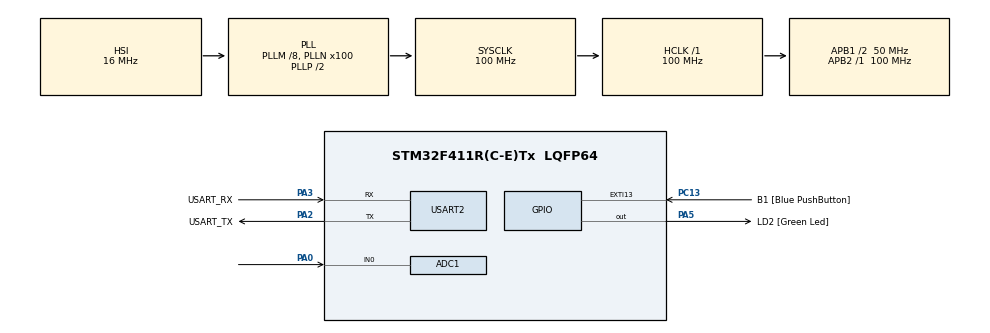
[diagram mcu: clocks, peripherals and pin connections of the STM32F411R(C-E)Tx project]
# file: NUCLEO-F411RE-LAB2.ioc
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ADC1.Channel-0\#ChannelRegularConversion=ADC_CHANNEL_TEMPSENSOR
ADC1.Channel-1\#ChannelRegularConversion=ADC_CHANNEL_0
ADC1.ClockPrescaler=ADC_CLOCK_SYNC_PCLK_DIV6
ADC1.ContinuousConvMode=ENABLE
ADC1.DMAContinuousRequests=ENABLE
ADC1.NbrOfConversion=2
ADC1.NbrOfConversionFlag=1
ADC1.Rank-0\#ChannelRegularConversion=1
ADC1.Rank-1\#ChannelRegularConversion=2
ADC1.SamplingTime-0\#ChannelRegularConversion=ADC_SAMPLETIME_480CYCLES
ADC1.SamplingTime-1\#ChannelRegularConversion=ADC_SAMPLETIME_480CYCLES
ADC1.master=1
Dma.ADC1.0.Direction=DMA_PERIPH_TO_MEMORY
Dma.ADC1.0.FIFOMode=DMA_FIFOMODE_DISABLE
Dma.ADC1.0.Instance=DMA2_Stream0
Dma.ADC1.0.MemDataAlignment=DMA_MDATAALIGN_HALFWORD
Dma.ADC1.0.MemInc=DMA_MINC_ENABLE
Dma.ADC1.0.Mode=DMA_CIRCULAR
Dma.ADC1.0.PeriphDataAlignment=DMA_PDATAALIGN_HALFWORD
Dma.ADC1.0.PeriphInc=DMA_PINC_DISABLE
Dma.ADC1.0.Priority=DMA_PRIORITY_LOW
Dma.Request0=ADC1
Mcu.Family=STM32F4
Mcu.Name=STM32F411R(C-E)Tx
Mcu.Package=LQFP64
NVIC.DMA2_Stream0_IRQn=true\:0\:0\:false\:false\:true\:false\:true\:true
NVIC.PriorityGroup=NVIC_PRIORITYGROUP_0
PA0-WKUP.Signal=ADCx_IN0
PA13.GPIO_Label=TMS
PA13.Mode=Serial_Wire
PA13.Signal=SYS_JTMS-SWDIO
PA14.GPIO_Label=TCK
PA14.Mode=Serial_Wire
PA14.Signal=SYS_JTCK-SWCLK
PA2.GPIO_Label=USART_TX
PA2.Mode=Asynchronous
PA2.Signal=USART2_TX
PA3.GPIO_Label=USART_RX
PA3.Mode=Asynchronous
PA3.Signal=USART2_RX
PA5.GPIO_Label=LD2 [Green Led]
PA5.Signal=GPIO_Output
PB3.GPIO_Label=SWO
PB3.Signal=SYS_JTDO-SWO
PC13-ANTI_TAMP.GPIO_Label=B1 [Blue PushButton]
PC13-ANTI_TAMP.GPIO_ModeDefaultEXTI=GPIO_MODE_IT_FALLING
PC13-ANTI_TAMP.Signal=GPXTI13
PC14-OSC32_IN.Mode=LSE-External-Oscillator
PC14-OSC32_IN.Signal=RCC_OSC32_IN
PC15-OSC32_OUT.Mode=LSE-External-Oscillator
PC15-OSC32_OUT.Signal=RCC_OSC32_OUT
PH0\ -\ OSC_IN.Mode=HSE-External-Clock-Source
PH0\ -\ OSC_IN.Signal=RCC_OSC_IN
PH1\ -\ OSC_OUT.Mode=HSE-External-Clock-Source
PH1\ -\ OSC_OUT.Signal=RCC_OSC_OUT
ProjectManager.HeapSize=0x200
ProjectManager.StackSize=0x400
ProjectManager.TargetToolchain=STM32CubeIDE
RCC.48MHZClocksFreq_Value=50000000
RCC.AHBFreq_Value=100000000
RCC.APB1CLKDivider=RCC_HCLK_DIV2
RCC.APB1Freq_Value=50000000
RCC.APB1TimFreq_Value=100000000
RCC.APB2Freq_Value=100000000
RCC.APB2TimFreq_Value=100000000
RCC.CortexFreq_Value=100000000
RCC.FLatency-AdvancedSettings=FLASH_LATENCY_3
RCC.HCLKFreq_Value=100000000
RCC.HSE_VALUE=8000000
RCC.HSI_VALUE=16000000
RCC.PLLM=8
RCC.PLLN=100
RCC.SYSCLKFreq_VALUE=100000000
RCC.SYSCLKSource=RCC_SYSCLKSOURCE_PLLCLK
RCC.VCOOutputFreq_Value=200000000
SH.ADCx_IN0.0=ADC1_IN0,IN0
USART2.VirtualMode=VM_ASYNC
VP_ADC1_TempSens_Input.Mode=IN-TempSens
board=NUCLEO-F411RE

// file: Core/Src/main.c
/* USER CODE BEGIN Header */
/**
  ******************************************************************************
  * @file           : main.c
  * @brief          : Main program body
  ******************************************************************************
  * @attention
  *
  * Copyright (c) 2023 STMicroelectronics.
  * All rights reserved.
  *
  * This software is licensed under terms that can be found in the LICENSE file
  * in the root directory of this software component.
  * If no LICENSE file comes with this software, it is provided AS-IS.
  *
  ******************************************************************************
  */
/* USER CODE END Header */
#include "main.h"

/* USER CODE BEGIN Includes */
#include "string.h"
#include "stdio.h"
/* USER CODE END Includes */

/* USER CODE BEGIN PD */
#define ADC_BUFFEER_SIZE 30
/* USER CODE END PD */

ADC_HandleTypeDef hadc1;
DMA_HandleTypeDef hdma_adc1;

UART_HandleTypeDef huart2;

/* USER CODE BEGIN PV */

typedef struct {
	float Raw;
	float Filt;
	uint32_t Ave;
} ADCFilter;

/* USER CODE END PV */

void SystemClock_Config(void);
static void MX_GPIO_Init(void);
static void MX_DMA_Init(void);
static void MX_USART2_UART_Init(void);
static void MX_ADC1_Init(void);
/* USER CODE BEGIN PFP */
float ComputeLowpassConstant(uint16_t CutoffFreq, uint16_t SamplingFreq);
/* USER CODE END PFP */

/* USER CODE BEGIN 0 */
char TxBuffer[30];

uint16_t ADCBuffer[ADC_BUFFEER_SIZE];

ADCFilter Temp;
ADCFilter Volt;

uint16_t Temp_Filt_1Hz;
uint16_t Volt_Filt_1Hz;

uint32_t Temp_Ave_1Hz;
uint32_t Volt_Ave_1Hz;
/* USER CODE END 0 */

int main(void)
{

  /* MCU Configuration--------------------------------------------------------*/

  /* Reset of all peripherals, Initializes the Flash interface and the Systick. */
  HAL_Init();

  /* Configure the system clock */
  SystemClock_Config();

  /* Initialize all configured peripherals */
  MX_GPIO_Init();
  MX_DMA_Init();
  MX_USART2_UART_Init();
  MX_ADC1_Init();
  /* USER CODE BEGIN 2 */
  HAL_ADC_Start_DMA(&hadc1, (uint32_t *) ADCBuffer, ADC_BUFFEER_SIZE);
  /* USER CODE END 2 */

  /* Infinite loop */
  /* USER CODE BEGIN WHILE */

  uint32_t TimeStamp_1kHz = HAL_GetTick() + 1;
  uint32_t TimeStamp_10Hz = HAL_GetTick() + 100;
  uint32_t TimeStamp_1Hz = HAL_GetTick() + 1000;

  uint32_t TransmitTime = HAL_GetTick() + 10;

  uint8_t ADCIndex;

  Temp.Raw = 0;
  Temp.Filt = 0;
  Temp.Ave = 0;

  Volt.Raw = 0;
  Volt.Filt = 0;
  Volt.Ave = 0;

  float C1 = ComputeLowpassConstant(5, 1000);
  float C2 = ComputeLowpassConstant(50, 1000);

  while (1)
  {

	  uint32_t Time = HAL_GetTick();

	  if (Time >= TimeStamp_1kHz) {
		  ADCIndex = hdma_adc1.Instance -> NDTR - 1;
		  if (ADCIndex % 2 == 0) {
			  Temp.Raw = (3.3 * ADCBuffer[ADCIndex]) / 4095.0;
			  Volt.Raw = (3.3 * ADCBuffer[ADC_BUFFEER_SIZE - 1]) / 4095.0;
		  } else {
			  Temp.Raw = (3.3 * ADCBuffer[ADCIndex - 1]) / 4095.0;
			  Volt.Raw = (3.3 * ADCBuffer[ADCIndex]) / 4095.0;
		  }

		  Temp.Raw = (400 * (Temp.Raw - 0.76)) + 25 + 273.15;
		  Temp.Filt = (C1 * Temp.Raw) + ((1 - C1) * Temp.Filt);

		  Volt.Raw = 2000 * Volt.Raw;
		  Volt.Filt = (C2 * Volt.Raw) + ((1 - C2) * Volt.Filt);

		  if (Time >= TimeStamp_10Hz) {
			  Temp.Ave += Temp.Raw;
			  Volt.Ave += Volt.Raw;
			  TimeStamp_10Hz += 100;
		  }

		  TimeStamp_1kHz += 1;
	  }

	  if (Time >= TimeStamp_1Hz) {
		  Temp_Filt_1Hz = Temp.Filt;
		  Volt_Filt_1Hz = Volt.Filt;

		  Temp_Ave_1Hz = Temp.Ave / 10.0;
		  Volt_Ave_1Hz = Volt.Ave / 10.0;

		  Temp.Ave = 0;
		  Volt.Ave = 0;
		  TimeStamp_1Hz += 1000;
	  }

    /* USER CODE END WHILE */

    /* USER CODE BEGIN 3 */

	  if (Time >= TransmitTime) {

		  sprintf(TxBuffer, "%.2f %.2f %.2f %.2f\r\n", Temp.Raw, Temp.Filt, Volt.Raw, Volt.Filt);
		  HAL_UART_Transmit(&huart2, (uint8_t *) TxBuffer, strlen(TxBuffer), HAL_MAX_DELAY);

		  TransmitTime += 10;
	  }
  }
  /* USER CODE END 3 */
}

void SystemClock_Config(void)
{
  RCC_OscInitTypeDef RCC_OscInitStruct = {0};
  RCC_ClkInitTypeDef RCC_ClkInitStruct = {0};

  /** Configure the main internal regulator output voltage
  */
  __HAL_RCC_PWR_CLK_ENABLE();
  __HAL_PWR_VOLTAGESCALING_CONFIG(PWR_REGULATOR_VOLTAGE_SCALE1);

  /** Initializes the RCC Oscillators according to the specified parameters
  * in the RCC_OscInitTypeDef structure.
  */
  RCC_OscInitStruct.OscillatorType = RCC_OSCILLATORTYPE_HSI;
  RCC_OscInitStruct.HSIState = RCC_HSI_ON;
  RCC_OscInitStruct.HSICalibrationValue = RCC_HSICALIBRATION_DEFAULT;
  RCC_OscInitStruct.PLL.PLLState = RCC_PLL_ON;
  RCC_OscInitStruct.PLL.PLLSource = RCC_PLLSOURCE_HSI;
  RCC_OscInitStruct.PLL.PLLM = 8;
  RCC_OscInitStruct.PLL.PLLN = 100;
  RCC_OscInitStruct.PLL.PLLP = RCC_PLLP_DIV2;
  RCC_OscInitStruct.PLL.PLLQ = 4;
  if (HAL_RCC_OscConfig(&RCC_OscInitStruct) != HAL_OK)
  {
    Error_Handler();
  }

  /** Initializes the CPU, AHB and APB buses clocks
  */
  RCC_ClkInitStruct.ClockType = RCC_CLOCKTYPE_HCLK|RCC_CLOCKTYPE_SYSCLK
                              |RCC_CLOCKTYPE_PCLK1|RCC_CLOCKTYPE_PCLK2;
  RCC_ClkInitStruct.SYSCLKSource = RCC_SYSCLKSOURCE_PLLCLK;
  RCC_ClkInitStruct.AHBCLKDivider = RCC_SYSCLK_DIV1;
  RCC_ClkInitStruct.APB1CLKDivider = RCC_HCLK_DIV2;
  RCC_ClkInitStruct.APB2CLKDivider = RCC_HCLK_DIV1;

  if (HAL_RCC_ClockConfig(&RCC_ClkInitStruct, FLASH_LATENCY_3) != HAL_OK)
  {
    Error_Handler();
  }
}

static void MX_ADC1_Init(void)
{

  ADC_ChannelConfTypeDef sConfig = {0};

  /** Configure the global features of the ADC (Clock, Resolution, Data Alignment and number of conversion)
  */
  hadc1.Instance = ADC1;
  hadc1.Init.ClockPrescaler = ADC_CLOCK_SYNC_PCLK_DIV6;
  hadc1.Init.Resolution = ADC_RESOLUTION_12B;
  hadc1.Init.ScanConvMode = ENABLE;
  hadc1.Init.ContinuousConvMode = ENABLE;
  hadc1.Init.DiscontinuousConvMode = DISABLE;
  hadc1.Init.ExternalTrigConvEdge = ADC_EXTERNALTRIGCONVEDGE_NONE;
  hadc1.Init.ExternalTrigConv = ADC_SOFTWARE_START;
  hadc1.Init.DataAlign = ADC_DATAALIGN_RIGHT;
  hadc1.Init.NbrOfConversion = 2;
  hadc1.Init.DMAContinuousRequests = ENABLE;
  hadc1.Init.EOCSelection = ADC_EOC_SINGLE_CONV;
  if (HAL_ADC_Init(&hadc1) != HAL_OK)
  {
    Error_Handler();
  }

  /** Configure for the selected ADC regular channel its corresponding rank in the sequencer and its sample time.
  */
  sConfig.Channel = ADC_CHANNEL_TEMPSENSOR;
  sConfig.Rank = 1;
  sConfig.SamplingTime = ADC_SAMPLETIME_480CYCLES;
  if (HAL_ADC_ConfigChannel(&hadc1, &sConfig) != HAL_OK)
  {
    Error_Handler();
  }

  /** Configure for the selected ADC regular channel its corresponding rank in the sequencer and its sample time.
  */
  sConfig.Channel = ADC_CHANNEL_0;
  sConfig.Rank = 2;
  if (HAL_ADC_ConfigChannel(&hadc1, &sConfig) != HAL_OK)
  {
    Error_Handler();
  }

}

static void MX_USART2_UART_Init(void)
{

  huart2.Instance = USART2;
  huart2.Init.BaudRate = 115200;
  huart2.Init.WordLength = UART_WORDLENGTH_8B;
  huart2.Init.StopBits = UART_STOPBITS_1;
  huart2.Init.Parity = UART_PARITY_NONE;
  huart2.Init.Mode = UART_MODE_TX_RX;
  huart2.Init.HwFlowCtl = UART_HWCONTROL_NONE;
  huart2.Init.OverSampling = UART_OVERSAMPLING_16;
  if (HAL_UART_Init(&huart2) != HAL_OK)
  {
    Error_Handler();
  }

}

static void MX_DMA_Init(void)
{

  /* DMA controller clock enable */
  __HAL_RCC_DMA2_CLK_ENABLE();

  /* DMA interrupt init */
  /* DMA2_Stream0_IRQn interrupt configuration */
  HAL_NVIC_SetPriority(DMA2_Stream0_IRQn, 0, 0);
  HAL_NVIC_EnableIRQ(DMA2_Stream0_IRQn);

}

static void MX_GPIO_Init(void)
{
  GPIO_InitTypeDef GPIO_InitStruct = {0};

  /* GPIO Ports Clock Enable */
  __HAL_RCC_GPIOC_CLK_ENABLE();
  __HAL_RCC_GPIOH_CLK_ENABLE();
  __HAL_RCC_GPIOA_CLK_ENABLE();
  __HAL_RCC_GPIOB_CLK_ENABLE();

  /*Configure GPIO pin Output Level */
  HAL_GPIO_WritePin(LD2_GPIO_Port, LD2_Pin, GPIO_PIN_RESET);

  /*Configure GPIO pin : B1_Pin */
  GPIO_InitStruct.Pin = B1_Pin;
  GPIO_InitStruct.Mode = GPIO_MODE_IT_FALLING;
  GPIO_InitStruct.Pull = GPIO_NOPULL;
  HAL_GPIO_Init(B1_GPIO_Port, &GPIO_InitStruct);

  /*Configure GPIO pin : LD2_Pin */
  GPIO_InitStruct.Pin = LD2_Pin;
  GPIO_InitStruct.Mode = GPIO_MODE_OUTPUT_PP;
  GPIO_InitStruct.Pull = GPIO_NOPULL;
  GPIO_InitStruct.Speed = GPIO_SPEED_FREQ_LOW;
  HAL_GPIO_Init(LD2_GPIO_Port, &GPIO_InitStruct);

}

/* USER CODE BEGIN 4 */

float ComputeLowpassConstant(uint16_t CutoffFreq, uint16_t SamplingFreq) {
	return CutoffFreq / ((float) (CutoffFreq + SamplingFreq));
}

/* USER CODE END 4 */

void Error_Handler(void)
{
  __disable_irq();
  while (1)
  {
  }
}
